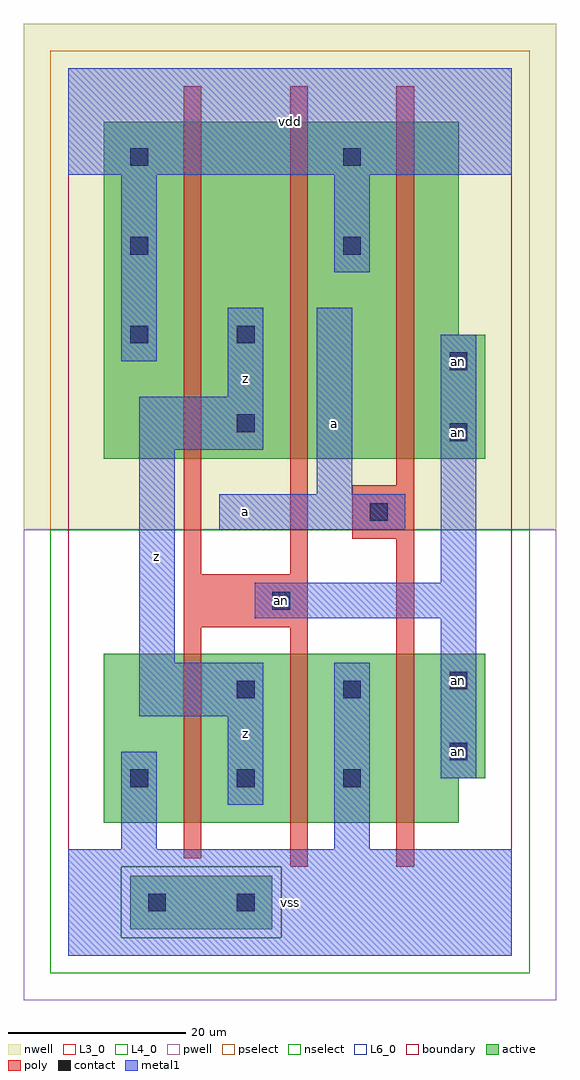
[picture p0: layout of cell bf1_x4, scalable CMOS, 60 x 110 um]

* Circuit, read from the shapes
.subckt bf1_x4 a an vdd vss z
M1 z an vss vss nfet w=19u l=2u m=2
M2 an a vss vss nfet w=19u l=2u
M3 z an vdd n1 pfet w=38u l=2u m=2
M4 an a vdd n1 pfet w=38u l=2u
.ends

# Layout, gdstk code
import gdstk
lib = gdstk.Library(unit=1e-6, precision=1e-09)
def R(c, l, rs):  # rectangles x0, y0, x1, y1
    for r in rs: c.add(gdstk.rectangle(r[:2], r[2:], *l))
def A(c, l, x, y, w, h, nx, ny, dx, dy):  # array of equal rectangles
    R(c, l, [(x+i*dx, y+j*dy, x+i*dx+w, y+j*dy+h) for i in range(nx) for j in range(ny)])
L3_0 = (3, 0)
L4_0 = (4, 0)
L6_0 = (6, 0)
contact = (25, 0)
pwell = (41, 0)
nwell = (42, 0)
active = (43, 0)
pselect = (44, 0)
nselect = (45, 0)
poly = (46, 0)
metal1 = (49, 0)
boundary = (63, 0)

bf1_x4 = lib.new_cell('bf1_x4')
R(bf1_x4, L3_0, [(4,15,44,20), (4,20,47,34)])
R(bf1_x4, L4_0, [(4,56,47,70), (4,70,44,94)])
R(bf1_x4, L6_0, [(7,3,23,9)])
A(bf1_x4, contact, 7, 19, 2, 2, 3, 1, 12, 0)
A(bf1_x4, contact, 7, 69, 2, 2, 1, 3, 0, 10)
R(bf1_x4, contact, [(9,5,11,7), (19,5,21,7), (43,22,45,24), (19,29,21,31), (31,29,33,31), (43,30,45,32), (23,39,25,41), (34,49,36,51), (43,58,45,60), (19,59,21,61), (43,66,45,68), (19,69,21,71), (31,79,33,81), (31,89,33,91)])
R(bf1_x4, pwell, [(-5,-5,55,48)])
R(bf1_x4, nwell, [(-5,48,55,105)])
R(bf1_x4, active, [(7,3,23,9), (4,15,44,20), (4,20,47,34), (4,56,47,70), (4,70,44,94)])
R(bf1_x4, pselect, [(6,2,24,10), (-2,48,52,102)])
R(bf1_x4, nselect, [(-2,-2,52,2), (-2,2,6,10), (24,2,52,10), (-2,10,52,48)])
R(bf1_x4, poly, [(25,10,27,37), (37,10,39,47), (13,11,15,37), (13,37,27,43), (13,43,15,98), (25,43,27,98), (32,47,39,53), (37,53,39,98)])
R(bf1_x4, metal1, [(0,0,50,12), (6,12,10,23), (30,12,34,33), (18,17,22,27), (42,20,46,38), (8,27,22,33), (8,33,12,57), (21,38,46,42), (42,42,46,70), (17,48,38,52), (28,52,32,73), (8,57,22,63), (18,63,22,73), (6,67,10,88), (30,77,34,88), (0,88,50,100)])
R(bf1_x4, boundary, [(0,0,50,100)])
bf1_x4.add(gdstk.Label('an', (24,40), layer=49, texttype=0))
bf1_x4.add(gdstk.Label('an', (44,23), layer=49, texttype=0))
bf1_x4.add(gdstk.Label('an', (44,31), layer=49, texttype=0))
bf1_x4.add(gdstk.Label('an', (44,59), layer=49, texttype=0))
bf1_x4.add(gdstk.Label('an', (44,67), layer=49, texttype=0))
bf1_x4.add(gdstk.Label('z', (20,25), layer=49, texttype=0))
bf1_x4.add(gdstk.Label('z', (10,45), layer=49, texttype=0))
bf1_x4.add(gdstk.Label('a', (20,50), layer=49, texttype=0))
bf1_x4.add(gdstk.Label('z', (20,65), layer=49, texttype=0))
bf1_x4.add(gdstk.Label('vss', (25,6), layer=49, texttype=0))
bf1_x4.add(gdstk.Label('a', (30,60), layer=49, texttype=0))
bf1_x4.add(gdstk.Label('vdd', (25,94), layer=49, texttype=0))

lib.write_gds('bf1_x4.gds')
